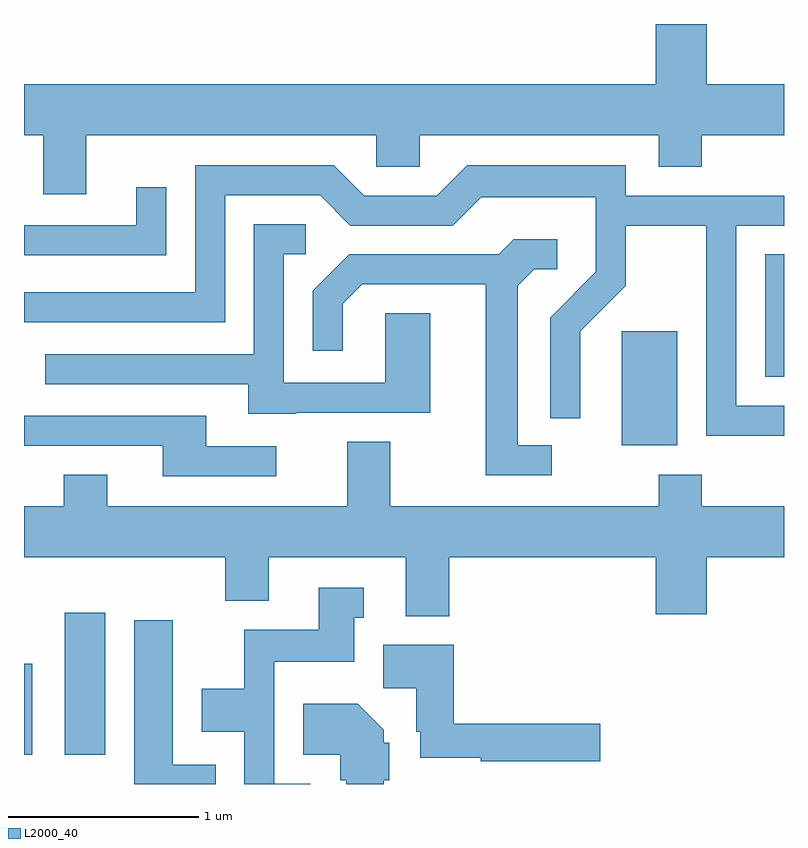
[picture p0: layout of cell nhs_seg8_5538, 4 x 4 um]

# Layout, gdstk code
import gdstk
lib = gdstk.Library(unit=1e-6, precision=1e-09)
def R(c, l, rs):  # rectangles x0, y0, x1, y1
    for r in rs: c.add(gdstk.rectangle(r[:2], r[2:], *l))
def P(c, l, *ps):  # polygons
    for p in ps: c.add(gdstk.Polygon(p, *l))
L2000_40 = (2000, 40)

nhs_seg8_5538 = lib.new_cell('nhs_seg8_5538')
R(nhs_seg8_5538, L2000_40, [(351.611,1826.496,351.654,1826.974), (351.826,1826.496,352.039,1827.244), (354.756,1828.126,355.049,1828.724), (355.511,1828.486,355.611,1829.129)])
P(nhs_seg8_5538, L2000_40, [(351.611,1829.756),(351.711,1829.756),(351.711,1829.446),(351.939,1829.446),(351.939,1829.756),(353.466,1829.756),(353.466,1829.591),(353.694,1829.591),(353.694,1829.756),(354.951,1829.756),(354.951,1829.591),(355.179,1829.591),(355.179,1829.756),(355.611,1829.756),(355.611,1830.024),(355.204,1830.024),(355.204,1830.342),(354.936,1830.342),(354.936,1830.024),(351.611,1830.024)],
  [(355.611,1828.334),(355.359,1828.334),(355.359,1829.281),(355.611,1829.281),(355.611,1829.439),(354.779,1829.439),(354.779,1829.599),(353.944,1829.599),(353.784,1829.439),(353.402,1829.439),(353.242,1829.599),(352.511,1829.599),(352.511,1828.929),(351.611,1828.929),(351.611,1828.771),(352.669,1828.771),(352.669,1829.441),(353.169,1829.441),(353.329,1829.281),(353.867,1829.281),(354.017,1829.431),(354.621,1829.431),(354.621,1829.037),(354.381,1828.797),(354.381,1828.268),(354.539,1828.268),(354.539,1828.724),(354.779,1828.964),(354.779,1829.281),(355.201,1829.281),(355.201,1828.176),(355.611,1828.176)],
  [(352.359,1829.483),(352.201,1829.483),(352.201,1829.284),(351.611,1829.284),(351.611,1829.126),(352.359,1829.126)],
  [(353.045,1828.296),(353.749,1828.296),(353.749,1828.819),(353.511,1828.819),(353.511,1828.454),(352.979,1828.454),(352.979,1829.131),(353.093,1829.131),(353.093,1829.289),(352.821,1829.289),(352.821,1828.604),(351.723,1828.604),(351.723,1828.446),(352.791,1828.446),(352.791,1828.291),(353.045,1828.291)],
  [(354.388,1828.124),(354.209,1828.124),(354.209,1828.964),(354.297,1829.051),(354.418,1829.051),(354.418,1829.209),(354.189,1829.209),(354.109,1829.129),(353.324,1829.129),(353.131,1828.937),(353.131,1828.623),(353.289,1828.623),(353.289,1828.869),(353.392,1828.971),(354.041,1828.971),(354.041,1827.966),(354.388,1827.966)],
  [(352.938,1828.119),(352.569,1828.119),(352.569,1828.279),(351.611,1828.279),(351.611,1828.121),(352.341,1828.121),(352.341,1827.961),(352.938,1827.961)],
  [(353.849,1827.536),(354.936,1827.536),(354.936,1827.236),(355.204,1827.236),(355.204,1827.536),(355.611,1827.536),(355.611,1827.804),(355.179,1827.804),(355.179,1827.969),(354.951,1827.969),(354.951,1827.804),(353.539,1827.804),(353.539,1828.144),(353.311,1828.144),(353.311,1827.804),(352.049,1827.804),(352.049,1827.969),(351.821,1827.969),(351.821,1827.804),(351.611,1827.804),(351.611,1827.536),(352.671,1827.536),(352.671,1827.306),(352.899,1827.306),(352.899,1827.536),(353.621,1827.536),(353.621,1827.226),(353.849,1827.226)],
  [(353.118,1826.344),(352.929,1826.344),(352.929,1826.986),(353.349,1826.986),(353.349,1827.216),(353.398,1827.216),(353.398,1827.374),(353.161,1827.374),(353.161,1827.154),(352.771,1827.154),(352.771,1826.844),(352.546,1826.844),(352.546,1826.616),(352.771,1826.616),(352.771,1826.342),(353.118,1826.342)],
  [(352.619,1826.444),(352.394,1826.444),(352.394,1827.204),(352.191,1827.204),(352.191,1826.342),(352.619,1826.342)],
  [(354.644,1826.659),(353.874,1826.659),(353.874,1827.074),(353.501,1827.074),(353.501,1826.846),(353.676,1826.846),(353.676,1826.616),(353.696,1826.616),(353.696,1826.481),(354.016,1826.481),(354.016,1826.461),(354.644,1826.461)],
  [(353.504,1826.361),(353.534,1826.361),(353.534,1826.559),(353.504,1826.559),(353.504,1826.627),(353.367,1826.764),(353.081,1826.764),(353.081,1826.496),(353.276,1826.496),(353.276,1826.361),(353.306,1826.361),(353.306,1826.342),(353.504,1826.342)])

lib.write_gds('nhs_seg8_5538.gds')
